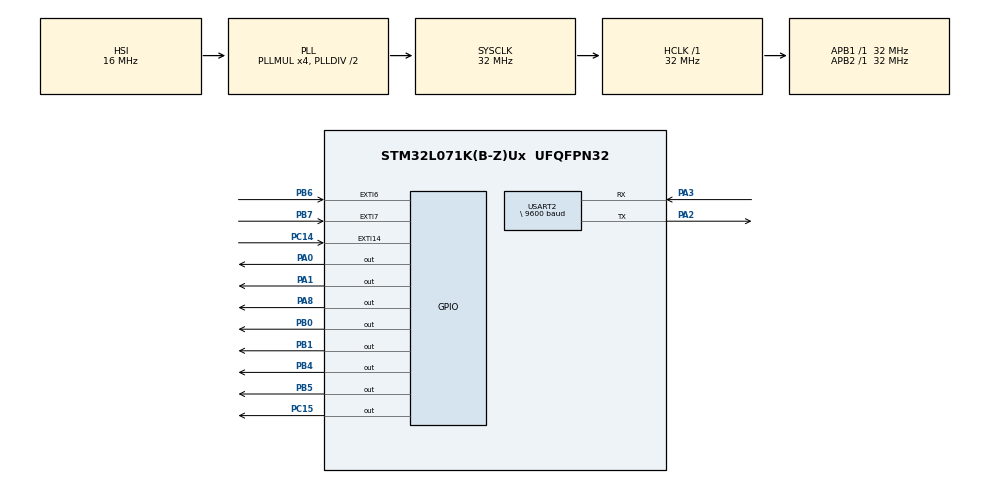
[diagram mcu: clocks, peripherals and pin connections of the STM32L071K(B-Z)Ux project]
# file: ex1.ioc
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Dma.MEMTOMEM.1.Direction=DMA_MEMORY_TO_MEMORY
Dma.MEMTOMEM.1.Instance=DMA1_Channel1
Dma.MEMTOMEM.1.MemDataAlignment=DMA_MDATAALIGN_BYTE
Dma.MEMTOMEM.1.MemInc=DMA_MINC_ENABLE
Dma.MEMTOMEM.1.Mode=DMA_NORMAL
Dma.MEMTOMEM.1.PeriphDataAlignment=DMA_PDATAALIGN_BYTE
Dma.MEMTOMEM.1.PeriphInc=DMA_PINC_ENABLE
Dma.MEMTOMEM.1.Priority=DMA_PRIORITY_LOW
Dma.Request0=USART2_RX
Dma.Request1=MEMTOMEM
Dma.USART2_RX.0.Direction=DMA_PERIPH_TO_MEMORY
Dma.USART2_RX.0.Instance=DMA1_Channel5
Dma.USART2_RX.0.MemDataAlignment=DMA_MDATAALIGN_BYTE
Dma.USART2_RX.0.MemInc=DMA_MINC_ENABLE
Dma.USART2_RX.0.Mode=DMA_CIRCULAR
Dma.USART2_RX.0.PeriphDataAlignment=DMA_PDATAALIGN_BYTE
Dma.USART2_RX.0.PeriphInc=DMA_PINC_DISABLE
Dma.USART2_RX.0.Priority=DMA_PRIORITY_LOW
Mcu.Family=STM32L0
Mcu.Name=STM32L071K(B-Z)Ux
Mcu.Package=UFQFPN32
NVIC.DMA1_Channel1_IRQn=true\:0\:0\:false\:false\:true\:true\:true
NVIC.DMA1_Channel4_5_6_7_IRQn=true\:0\:0\:false\:false\:true\:false\:true
NVIC.EXTI4_15_IRQn=true\:0\:0\:false\:false\:true\:true\:true
NVIC.TIM3_IRQn=true\:0\:0\:false\:false\:true\:true\:true
NVIC.TIM6_IRQn=true\:0\:0\:false\:false\:true\:true\:true
NVIC.USART2_IRQn=true\:0\:0\:false\:false\:true\:true\:true
PA0.Signal=GPIO_Output
PA1.Signal=GPIO_Output
PA13.Mode=Serial_Wire
PA13.Signal=SYS_SWDIO
PA14.Mode=Serial_Wire
PA14.Signal=SYS_SWCLK
PA2.Mode=Asynchronous
PA2.Signal=USART2_TX
PA3.Mode=Asynchronous
PA3.Signal=USART2_RX
PA8.GPIO_PuPd=GPIO_PULLDOWN
PA8.Signal=GPIO_Output
PB0.GPIO_PuPd=GPIO_PULLDOWN
PB0.Signal=GPIO_Output
PB1.GPIO_PuPd=GPIO_PULLDOWN
PB1.Signal=GPIO_Output
PB4.Signal=GPIO_Output
PB5.Signal=GPIO_Output
PB6.GPIO_PuPd=GPIO_PULLDOWN
PB6.Signal=GPXTI6
PB7.GPIO_PuPd=GPIO_PULLDOWN
PB7.Signal=GPXTI7
PC14-OSC32_IN.Signal=GPXTI14
PC15-OSC32_OUT.Signal=GPIO_Output
ProjectManager.HeapSize=0x200
ProjectManager.StackSize=0x400
ProjectManager.TargetToolchain=MDK-ARM V5
RCC.AHBFreq_Value=32000000
RCC.APB1Freq_Value=32000000
RCC.APB1TimFreq_Value=32000000
RCC.APB2Freq_Value=32000000
RCC.APB2TimFreq_Value=32000000
RCC.HCLKFreq_Value=32000000
RCC.HSI16_VALUE=16000000
RCC.HSI_VALUE=16000000
RCC.LSE_VALUE=32768
RCC.MSI_VALUE=2097000
RCC.PLLMUL=RCC_PLLMUL_4
RCC.SYSCLKFreq_VALUE=32000000
RCC.SYSCLKSource=RCC_SYSCLKSOURCE_PLLCLK
RCC.VCOOutputFreq_Value=64000000
RTC.Format=RTC_FORMAT_BIN
RTC.SynchPrediv=307
TIM3.Period=999
TIM3.Prescaler=31
TIM6.Period=999
TIM6.Prescaler=31
USART2.BaudRate=\ 9600
USART2.VirtualMode-Asynchronous=VM_ASYNC
VP_CRC_VS_CRC.Mode=CRC_Activate
VP_RTC_VS_RTC_Activate.Mode=RTC_Enabled
VP_RTC_VS_RTC_Calendar.Mode=RTC_Calendar
VP_TIM3_VS_ClockSourceINT.Mode=Internal
VP_TIM6_VS_ClockSourceINT.Mode=Enable_Timer
board=custom

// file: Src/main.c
/* USER CODE BEGIN Header */
/**
  ******************************************************************************
  * @file           : main.c
  * @brief          : Main program body
  ******************************************************************************
  * @attention
  *
  * <h2><center>&copy; Copyright (c) 2019 STMicroelectronics.
  * All rights reserved.</center></h2>
  *
  * This software component is licensed by ST under BSD 3-Clause license,
  * the "License"; You may not use this file except in compliance with the
  * License. You may obtain a copy of the License at:
  *                        opensource.org/licenses/BSD-3-Clause
  *
  ******************************************************************************
  */
/* USER CODE END Header */

#include "main.h"
#include "crc.h"
#include "dma.h"
#include "rtc.h"
#include "tim.h"
#include "usart.h"
#include "gpio.h"

/* USER CODE BEGIN Includes */
#include "stm32l0xx_hal.h"
#include "zm4xx_gpio.h"
#include "spi.h"
#include "timer.h"
#include "stddef.h"
#include "sx127x_lora.h"
#include "key.h"
/* USER CODE END Includes */

/* USER CODE BEGIN PTD */

#define FREQ  (433000000)
void SystemClock_Config(void);
void Hardware_Init(void);
radio_handle_t  handle;
 int ret = RADIO_RET_OK;

    uint16_t len = 0;
		uint8_t rx[100];
		uint8_t tx = 0x55;
		uint8_t cntr = 0;

unsigned int max=26,min=22;
unsigned char send[5],rec[5];
		char lcdLine_1st_line[16];
    char lcdLine_2st_line[16];
		char lcdLine_3st_line[16];
	unsigned int tim_lcd=0,tim=0;
/* USER CODE END PTD */

void SystemClock_Config(void);

/* USER CODE BEGIN 0 */
void Task_BrdInit(void)
{
    HAL_GPIO_WritePin(GPIOC, GPIO_PIN_15, GPIO_PIN_SET);

    OLED_PowerControl(ENABLE);

    HAL_Delay(200);
    OLED_Init();
    OLED_Clear();

    OLED_ShowString(0, 0, (unsigned char *)"                ", 16);
    OLED_ShowString(0, 2, (unsigned char *)"                ", 16);
}
void LoRa_Init(void)
{

	handle = radio_zm4xx_inst_init(spi_recv_byte,spi_send_byte,zm4xx_rst_pin_set,zm4xx_sel_pin_set,delay_ms,delay_us);

	if(handle != NULL){
		if(RADIO_RET_OK == radio_freq_set(handle, FREQ)){
				HAL_GPIO_WritePin(GPIOC, GPIO_PIN_15,GPIO_PIN_RESET);
		}

		radio_mode_set(handle, RX_MODE);	//Receive Mode
	}
}
/* USER CODE END 0 */

int main(void)
{
  /* USER CODE BEGIN 1 */

	unsigned int i,key_num=0,key_num2=0,lcd_a,lcd_b;

  /* USER CODE END 1 */

  /* MCU Configuration--------------------------------------------------------*/

  /* Reset of all peripherals, Initializes the Flash interface and the Systick. */
  HAL_Init();

  /* Configure the system clock */
  SystemClock_Config();

  /* Initialize all configured peripherals */
  MX_GPIO_Init();
  MX_DMA_Init();
  MX_CRC_Init();
  MX_TIM3_Init();
  MX_TIM6_Init();
  MX_USART2_UART_Init();
  MX_RTC_Init();
  /* USER CODE BEGIN 2 */
    Task_BrdInit();
		zm4xx_pin_init(); //LORA��Ҫ
    spi_init();//LORA��Ҫ
		LoRa_Init();
		HAL_TIM_Base_Start_IT(&htim6);
  /* USER CODE END 2 */

  /* Infinite loop */
    while (1)
    {

    /* USER CODE BEGIN 3 */
			key_scan();
			if(key_num!=key)
			{
				OLED_ShowString(0, 0, (unsigned char *)"                ", 16);
				OLED_ShowString(0, 2, (unsigned char *)"                ", 16);
				key_num=key;
			}
			sprintf(lcdLine_3st_line,"%2d",key);
			radio_buf_send(handle, (unsigned char *)lcdLine_3st_line, sizeof(lcdLine_3st_line));

			radio_mode_set(handle, RX_MODE);
			ret = radio_buf_recv(handle, rx, &len);
			i=5000;
			while(i--&&ret != RADIO_RET_OK)
				ret = radio_buf_recv(handle, rx, &len);
			if(ret == RADIO_RET_OK)
			{
				sscanf((char *)rx,"%s %s",lcdLine_1st_line,lcdLine_2st_line);
			}
			if(tim_lcd==1)
			{
				OLED_ShowString(lcd_a, 0, (unsigned char *)lcdLine_1st_line, 16);
				OLED_ShowString(lcd_b, 2, (unsigned char *)lcdLine_2st_line, 16);
			}
			switch (key)
			{
				case 11:lcd_a=24;lcd_b=48;break;
				case 12:lcd_a=32;lcd_b=32;break;
				case 21:lcd_a=32;lcd_b=64;break;
				case 22:lcd_a=32;lcd_b=64;break;
			}
			if(key_num2!=key)
			{
				OLED_ShowString(0, 0, (unsigned char *)"                ", 16);
				OLED_ShowString(0, 2, (unsigned char *)"                ", 16);
				key_num2=key;
			}
  /* USER CODE END 3 */
		}
}
/* USER CODE BEGIN 4 */
void HAL_TIM_PeriodElapsedCallback(TIM_HandleTypeDef *htim)
{
	tim++;
	if(tim%100==0)
	{
		tim_lcd=!tim_lcd;
	}
	if(tim==10000)
	{
		tim=0;
	}
}
/* USER CODE END 4 */
void SystemClock_Config(void)
{
  RCC_OscInitTypeDef RCC_OscInitStruct = {0};
  RCC_ClkInitTypeDef RCC_ClkInitStruct = {0};
  RCC_PeriphCLKInitTypeDef PeriphClkInit = {0};

  /** Configure the main internal regulator output voltage
  */
  __HAL_PWR_VOLTAGESCALING_CONFIG(PWR_REGULATOR_VOLTAGE_SCALE1);
  /** Initializes the CPU, AHB and APB busses clocks
  */
  RCC_OscInitStruct.OscillatorType = RCC_OSCILLATORTYPE_HSI|RCC_OSCILLATORTYPE_LSI;
  RCC_OscInitStruct.HSIState = RCC_HSI_ON;
  RCC_OscInitStruct.HSICalibrationValue = RCC_HSICALIBRATION_DEFAULT;
  RCC_OscInitStruct.LSIState = RCC_LSI_ON;
  RCC_OscInitStruct.PLL.PLLState = RCC_PLL_ON;
  RCC_OscInitStruct.PLL.PLLSource = RCC_PLLSOURCE_HSI;
  RCC_OscInitStruct.PLL.PLLMUL = RCC_PLLMUL_4;
  RCC_OscInitStruct.PLL.PLLDIV = RCC_PLLDIV_2;
  if (HAL_RCC_OscConfig(&RCC_OscInitStruct) != HAL_OK)
  {
    Error_Handler();
  }
  /** Initializes the CPU, AHB and APB busses clocks
  */
  RCC_ClkInitStruct.ClockType = RCC_CLOCKTYPE_HCLK|RCC_CLOCKTYPE_SYSCLK
                              |RCC_CLOCKTYPE_PCLK1|RCC_CLOCKTYPE_PCLK2;
  RCC_ClkInitStruct.SYSCLKSource = RCC_SYSCLKSOURCE_PLLCLK;
  RCC_ClkInitStruct.AHBCLKDivider = RCC_SYSCLK_DIV1;
  RCC_ClkInitStruct.APB1CLKDivider = RCC_HCLK_DIV1;
  RCC_ClkInitStruct.APB2CLKDivider = RCC_HCLK_DIV1;

  if (HAL_RCC_ClockConfig(&RCC_ClkInitStruct, FLASH_LATENCY_1) != HAL_OK)
  {
    Error_Handler();
  }
  PeriphClkInit.PeriphClockSelection = RCC_PERIPHCLK_USART2|RCC_PERIPHCLK_RTC;
  PeriphClkInit.Usart2ClockSelection = RCC_USART2CLKSOURCE_PCLK1;
  PeriphClkInit.RTCClockSelection = RCC_RTCCLKSOURCE_LSI;
  if (HAL_RCCEx_PeriphCLKConfig(&PeriphClkInit) != HAL_OK)
  {
    Error_Handler();
  }
}

void Error_Handler(void)
{
}

/************************ (C) COPYRIGHT STMicroelectronics *****END OF FILE****/
